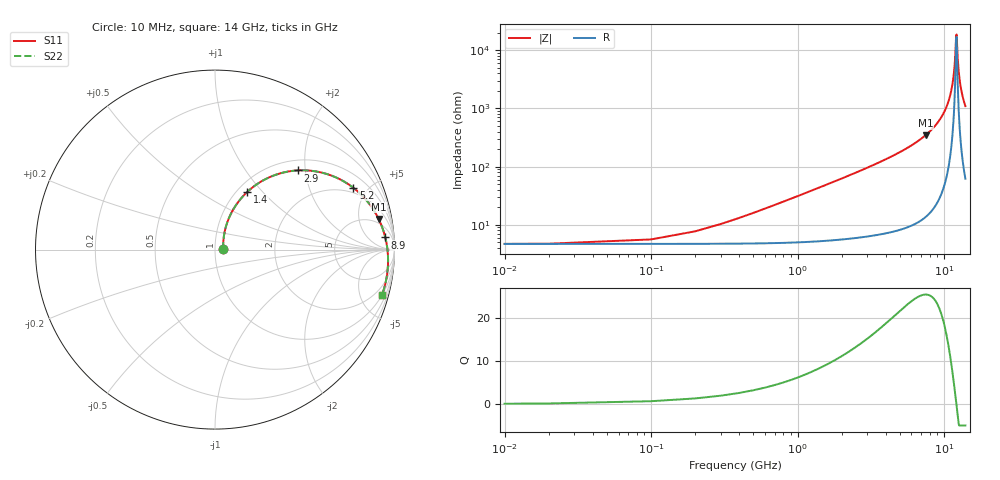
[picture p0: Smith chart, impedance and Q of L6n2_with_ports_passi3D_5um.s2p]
#  GHZ S DB R 50.0
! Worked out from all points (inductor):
!   142 points, 10 MHz to 14 GHz, reference 50 ohm
!   read as one part in series: L = 4.85 nH near 500 MHz
!   highest Q = 25.5 at 7.5 GHz (marker M1), where L = 7.37 nH
!   self-resonance near 12.1 GHz
!   S11 on the Smith chart (normalised r, x): 10 MHz: 1.09, +0.01; 1.4 GHz: 1.11, +0.83; 2.9 GHz: 1.22, +1.82; 5.2 GHz: 1.68, +4.02; 8.9 GHz: 13, +19; 14 GHz: 1.03, -7.39
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0.01  -26.97 3.3  -0.40 -0.2  -0.40 -0.2  -26.97 3.3
0.6  -15.49 65.8  -0.58 -10.5  -0.58 -10.5  -15.49 65.8
1.4  -8.70 60.8  -1.17 -23.3  -1.17 -23.3  -8.71 60.8
2.4  -4.99 49.2  -2.33 -37.1  -2.33 -37.1  -4.99 49.2
2.9  -3.90 43.8  -3.02 -43.0  -3.02 -43.0  -3.90 43.7
4.7  -1.79 27.7  -5.90 -59.9  -5.90 -59.9  -1.79 27.7
5.2  -1.47 24.1  -6.78 -63.6  -6.78 -63.6  -1.47 24.1
7.1  -0.75 12.7  -10.49 -75.2  -10.49 -75.2  -0.75 12.7
7.5  -0.66 10.6  -11.38 -77.2  -11.38 -77.2  -0.66 10.6
8.9  -0.43 4.1  -15.02 -83.5  -15.02 -83.5  -0.43 4.1
9.4  -0.38 1.9  -16.64 -85.4  -16.64 -85.4  -0.38 1.9
10.9  -0.29 -4.0  -23.89 -89.3  -23.89 -89.3  -0.29 -4.1
11.4  -0.28 -5.9  -28.39 -88.4  -28.39 -88.4  -0.28 -5.9
11.7  -0.28 -7.0  -32.74 -84.9  -32.74 -84.9  -0.28 -7.1
11.9  -0.27 -7.8  -37.42 -77.0  -37.42 -77.0  -0.28 -7.8
12.1  -0.27 -8.5  -45.30 -38.6  -45.30 -38.6  -0.28 -8.5
12.2  -0.27 -8.8  -45.77 16.0  -45.77 16.0  -0.28 -8.9
12.4  -0.28 -9.6  -37.90 59.2  -37.90 59.2  -0.28 -9.6
12.5  -0.28 -9.9  -35.23 64.7  -35.23 64.7  -0.28 -9.9
12.8  -0.28 -11.0  -30.08 70.7  -30.08 70.7  -0.28 -11.0
13.3  -0.29 -12.7  -25.25 72.6  -25.25 72.6  -0.29 -12.7
14  -0.32 -15.1  -21.25 71.9  -21.25 71.9  -0.32 -15.1
